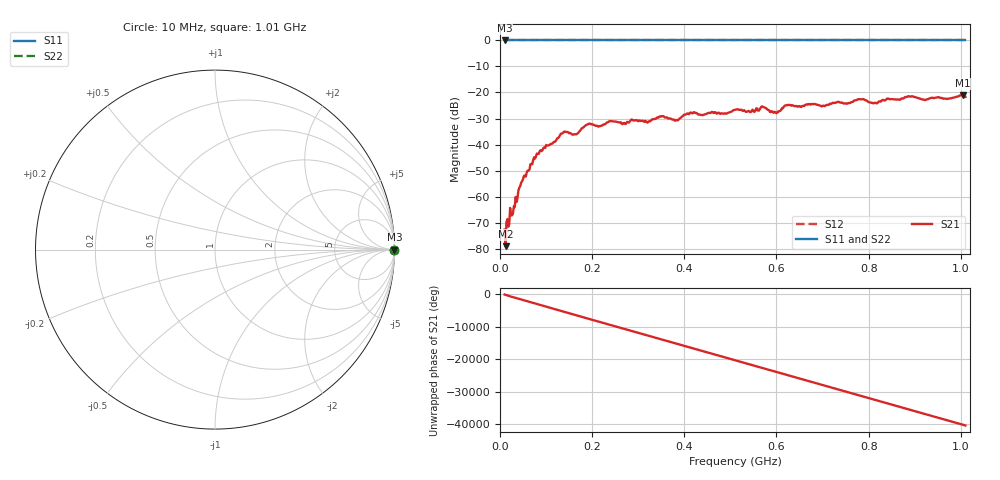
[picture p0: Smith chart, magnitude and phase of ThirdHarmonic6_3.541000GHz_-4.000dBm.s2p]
! 8/17/2025 11:39:43 AM
! C:\ANRITSUVNA\TEMP\TEMP.S2P
! CHANNEL.1
! TR.MEASUREMENT
! RAW.DATA
! RF.CORRECTION.OFF
! AVERAGING.OFF
! IF.BANDWIDTH: 5KHZ
! SWEEPTYPE:  FREQ.SWEEP(Linear)
! Reference Plane Port Info
! PORT:  PORT1  PORT2
! DISTANCE:  0  m  0  m
! TIME:  0  s  0  s
! PHASE.OFFSET:  0  deg.  0  deg.
! LOSS:  0  dB  0  dB
! REF.LOSS:  0  dB  0  dB
! REF.FREQ:  0  Hz  0  Hz
! Power Info
! POWER:  -20  dBm  -20  dBm
! EFF.POWER:  -20  dBm  -20  dBm
! SOURCE.ATTEN:  0  dB  0  dB
! TEST.ATTEN:  0  dB  0  dB
# GHZ S RI R 50.0
! FREQ.GHZ  S11RE  S11IM  S21RE  S21IM  S12RE  S12IM  S22RE  S22IM
!; PortSelection: Port_12
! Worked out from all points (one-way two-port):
!   501 points, 10 MHz to 1.01 GHz, reference 50 ohm
!   highest |S21| = -21.08 dB at 1.004 GHz (marker M1); lowest = -79.1 dB at 12 MHz (marker M2)
!   lowest |S11| = 0.0 dB at 10 MHz (marker M3)
!   |S11| at or under -10 dB: nowhere
!   |S22| runs from 0.0 to 0.0 dB; largest |S21 - S12| = 1.1
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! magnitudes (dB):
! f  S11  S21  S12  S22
! 10 MHz  0.0  -72.7  0.0  0.0
! 12 MHz  0.0  -79.1  0.0  0.0
! 28 MHz  0.0  -66.7  0.0  0.0
! 48 MHz  0.0  -54.1  0.0  0.0
! 78 MHz  0.0  -44.6  0.0  0.0
! 136 MHz  0.0  -35.7  0.0  0.0
! 164 MHz  0.0  -36.1  0.0  0.0
! 178 MHz  0.0  -33.7  0.0  0.0
! 192 MHz  0.0  -32.1  0.0  0.0
! 322 MHz  0.0  -31.2  0.0  0.0
! 344 MHz  0.0  -29.6  0.0  0.0
! 384 MHz  0.0  -30.6  0.0  0.0
! 418 MHz  0.0  -28.0  0.0  0.0
! 510 MHz  0.0  -26.6  0.0  0.0
! 572 MHz  0.0  -25.6  0.0  0.0
! 598 MHz  0.0  -27.5  0.0  0.0
! 622 MHz  0.0  -24.9  0.0  0.0
! 678 MHz  0.0  -24.4  0.0  0.0
! 814 MHz  0.0  -23.9  0.0  0.0
! 844 MHz  0.0  -22.5  0.0  0.0
! 1.004 GHz  0.0  -21.1  0.0  0.0
! 1.01 GHz  0.0  -21.7  0.0  0.0
